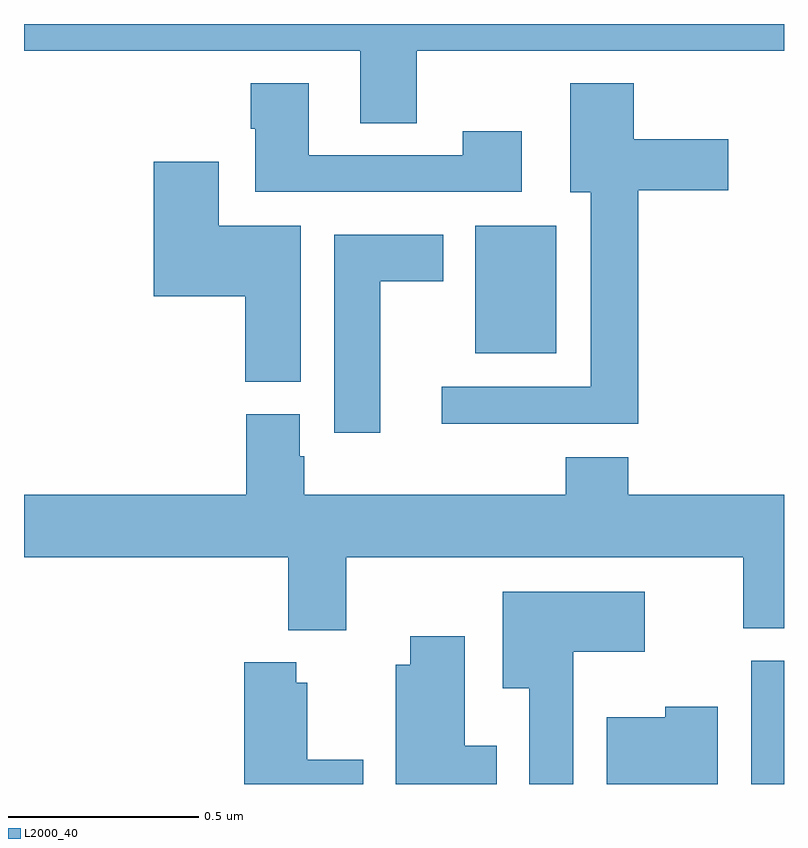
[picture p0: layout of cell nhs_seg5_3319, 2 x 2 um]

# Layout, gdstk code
import gdstk
lib = gdstk.Library(unit=1e-6, precision=1e-09)
def R(c, l, rs):  # rectangles x0, y0, x1, y1
    for r in rs: c.add(gdstk.rectangle(r[:2], r[2:], *l))
def P(c, l, *ps):  # polygons
    for p in ps: c.add(gdstk.Polygon(p, *l))
L2000_40 = (2000, 40)

nhs_seg5_3319 = lib.new_cell('nhs_seg5_3319')
R(nhs_seg5_3319, L2000_40, [(156.914,886.799,157,887.124), (156.188,887.933,156.4,888.268)])
P(nhs_seg5_3319, L2000_40, [(156.033,888.728),(157,888.728),(157,888.799),(155,888.799),(155,888.728),(155.885,888.728),(155.885,888.538),(156.033,888.538)],
  [(156.31,888.517),(156.154,888.517),(156.154,888.453),(155.749,888.453),(155.749,888.643),(155.597,888.643),(155.597,888.523),(155.609,888.523),(155.609,888.357),(156.31,888.357)],
  [(156.617,888.362),(156.853,888.362),(156.853,888.496),(156.604,888.496),(156.604,888.643),(156.437,888.643),(156.437,888.356),(156.491,888.356),(156.491,887.844),(156.099,887.844),(156.099,887.747),(156.617,887.747)],
  [(155.728,888.268),(155.512,888.268),(155.512,888.436),(155.342,888.436),(155.342,888.083),(155.582,888.083),(155.582,887.857),(155.728,887.857)],
  [(155.938,888.122),(156.103,888.122),(156.103,888.244),(155.816,888.244),(155.816,887.724),(155.938,887.724)],
  [(155.848,887.396),(156.893,887.396),(156.893,887.209),(157,887.209),(157,887.56),(156.59,887.56),(156.59,887.659),(156.425,887.659),(156.425,887.56),(155.738,887.56),(155.738,887.661),(155.725,887.661),(155.725,887.772),(155.585,887.772),(155.585,887.56),(155,887.56),(155,887.396),(155.696,887.396),(155.696,887.204),(155.848,887.204)],
  [(156.445,887.147),(156.634,887.147),(156.634,887.305),(156.26,887.305),(156.26,887.051),(156.329,887.051),(156.329,886.799),(156.445,886.799)],
  [(156.244,886.9),(156.16,886.9),(156.16,887.188),(156.017,887.188),(156.017,887.113),(155.978,887.113),(155.978,886.799),(156.244,886.799)],
  [(155.893,886.863),(155.746,886.863),(155.746,887.065),(155.716,887.065),(155.716,887.119),(155.579,887.119),(155.579,886.799),(155.893,886.799)],
  [(156.826,887.002),(156.687,887.002),(156.687,886.975),(156.533,886.975),(156.533,886.799),(156.826,886.799)])

lib.write_gds('nhs_seg5_3319.gds')
